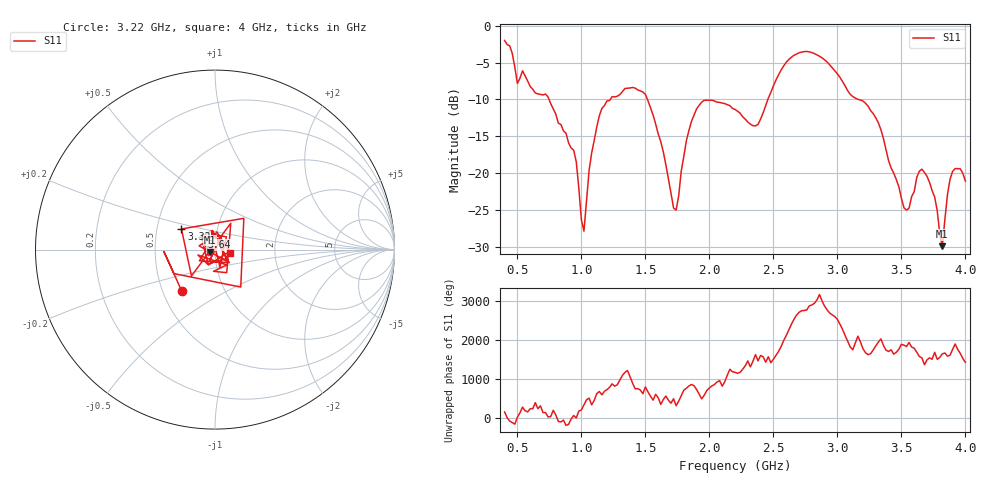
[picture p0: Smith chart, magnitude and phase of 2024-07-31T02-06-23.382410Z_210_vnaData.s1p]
!Created with skrf (http://scikit-rf.org).
# Hz S RI R 50.0
!freq ReS11 ImS11
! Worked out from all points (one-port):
!   181 points, 400 MHz to 4 GHz, reference 50 ohm
!   lowest |S11| = -29.9 dB at 3.82 GHz (marker M1), VSWR 1.07, Z = 47.2 - j1.31 ohm
!   |S11| at or under -10 dB: 747.1 MHz to 1.226 GHz (478.7 MHz wide, 48.5 % of centre); 1.516 GHz to 2.457 GHz (940.8 MHz wide, 47.4 % of centre); 3.162 GHz to end of sweep
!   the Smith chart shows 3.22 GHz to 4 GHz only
!   S11 on the Smith chart (normalised r, x): 3.22 GHz: 0.63, -0.32; 3.32 GHz: 0.67, +0.16; 3.64 GHz: 0.85, +0.12; 4 GHz: 1.19, -0.05
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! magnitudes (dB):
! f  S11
! 400 MHz  -2.0
! 500 MHz  -7.8
! 720 MHz  -9.3
! 860 MHz  -14.3
! 960 MHz  -18.5
! 1.02 GHz  -27.9
! 1.06 GHz  -19.6
! 1.14 GHz  -12.2
! 1.3 GHz  -9.3
! 1.5 GHz  -9.3
! 1.64 GHz  -17.1
! 1.72 GHz  -24.7
! 1.76 GHz  -23.1
! 1.82 GHz  -15.6
! 1.9 GHz  -11.3
! 2.2 GHz  -11.4
! 2.38 GHz  -13.4
! 2.66 GHz  -4.0
! 2.88 GHz  -4.4
! 3.1 GHz  -9.3
! 3.22 GHz  -10.5
! 3.32 GHz  -13.2
! 3.56 GHz  -24.7
! 3.64 GHz  -19.8
! 3.76 GHz  -23.2
! 3.82 GHz  -29.9
! 3.9 GHz  -19.8
! 4 GHz  -21.1
